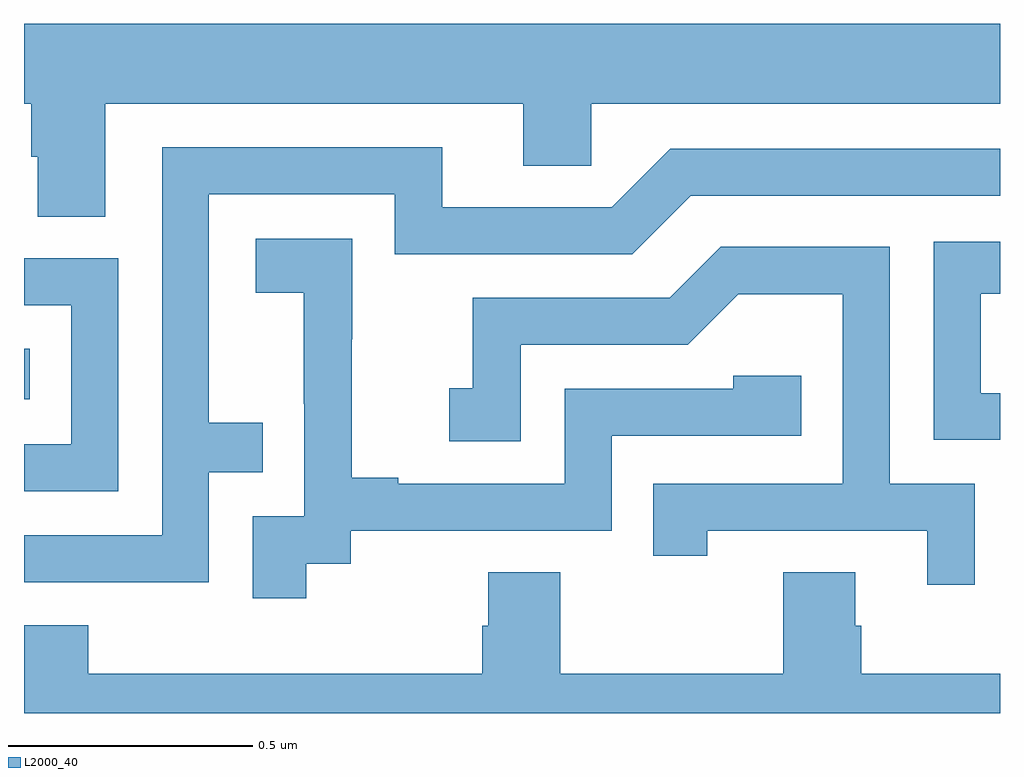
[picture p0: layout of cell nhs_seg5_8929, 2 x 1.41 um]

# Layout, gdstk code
import gdstk
lib = gdstk.Library(unit=1e-6, precision=1e-09)
def R(c, l, rs):  # rectangles x0, y0, x1, y1
    for r in rs: c.add(gdstk.rectangle(r[:2], r[2:], *l))
def P(c, l, *ps):  # polygons
    for p in ps: c.add(gdstk.Polygon(p, *l))
L2000_40 = (2000, 40)

nhs_seg5_8929 = lib.new_cell('nhs_seg5_8929')
R(nhs_seg5_8929, L2000_40, [(227,901.442,227.012,901.546)])
P(nhs_seg5_8929, L2000_40, [(227.167,902.048),(228.023,902.048),(228.023,901.921),(228.162,901.921),(228.162,902.048),(229,902.048),(229,902.212),(227,902.212),(227,902.048),(227.015,902.048),(227.015,901.939),(227.028,901.939),(227.028,901.816),(227.167,901.816)],
  [(227.379,901.293),(227.489,901.293),(227.489,901.394),(227.379,901.394),(227.379,901.863),(227.76,901.863),(227.76,901.74),(228.246,901.74),(228.366,901.86),(229,901.86),(229,901.956),(228.324,901.956),(228.204,901.836),(227.857,901.836),(227.857,901.959),(227.283,901.959),(227.283,901.164),(227,901.164),(227,901.068),(227.379,901.068)],
  [(227.578,901.105),(227.67,901.105),(227.67,901.173),(228.204,901.173),(228.204,901.368),(228.593,901.368),(228.593,901.491),(228.453,901.491),(228.453,901.464),(228.108,901.464),(228.108,901.269),(227.767,901.269),(227.767,901.282),(227.672,901.282),(227.672,901.565),(227.673,901.565),(227.673,901.771),(227.475,901.771),(227.475,901.661),(227.573,901.661),(227.573,901.433),(227.574,901.433),(227.574,901.203),(227.469,901.203),(227.469,901.035),(227.578,901.035)],
  [(229,901.455),(228.961,901.455),(228.961,901.659),(229,901.659),(229,901.765),(228.864,901.765),(228.864,901.359),(229,901.359)],
  [(228.948,901.269),(228.774,901.269),(228.774,901.755),(228.428,901.755),(228.323,901.65),(227.92,901.65),(227.92,901.465),(227.871,901.465),(227.871,901.356),(228.018,901.356),(228.018,901.554),(228.36,901.554),(228.464,901.658),(228.678,901.658),(228.678,901.269),(228.289,901.269),(228.289,901.122),(228.4,901.122),(228.4,901.173),(228.851,901.173),(228.851,901.062),(228.948,901.062)],
  [(227.193,901.731),(227,901.731),(227,901.635),(227.097,901.635),(227.097,901.35),(227,901.35),(227,901.254),(227.193,901.254)],
  [(229,900.88),(228.716,900.88),(228.716,900.978),(228.703,900.978),(228.703,901.088),(228.556,901.088),(228.556,900.88),(228.099,900.88),(228.099,901.088),(227.951,901.088),(227.951,900.978),(227.939,900.978),(227.939,900.88),(227.132,900.88),(227.132,900.979),(227,900.979),(227,900.799),(229,900.799)])

lib.write_gds('nhs_seg5_8929.gds')
